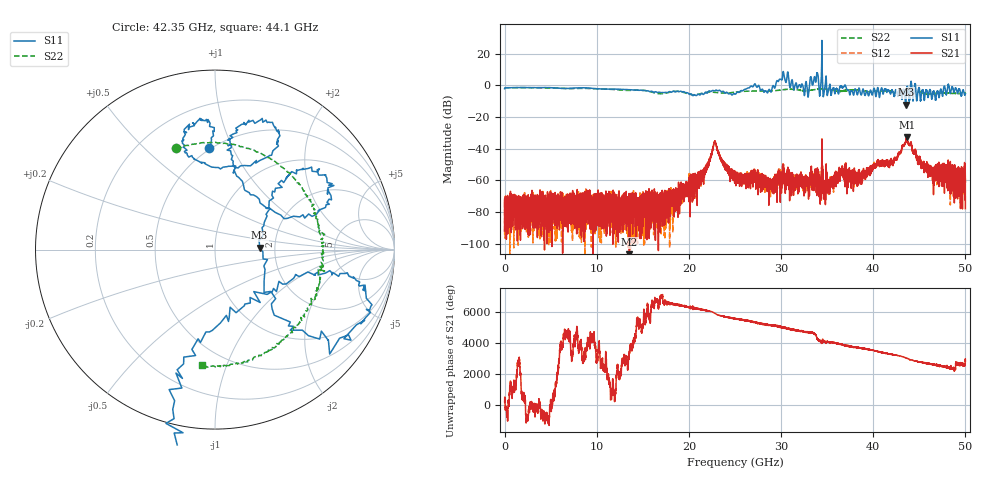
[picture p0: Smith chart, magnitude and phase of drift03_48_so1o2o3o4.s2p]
!Created with skrf (http://scikit-rf.org).
# Hz S RI R 50.0
!freq ReS11 ImS11 ReS21 ImS21 ReS12 ImS12 ReS22 ImS22
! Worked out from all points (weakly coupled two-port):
!   10000 points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, 5.3 MHz to 50 GHz, reference 50 ohm
!   highest |S21| = -32.69 dB at 43.64 GHz (marker M1); lowest = -108.8 dB at 13.55 GHz (marker M2)
!   lowest |S11| = -12.1 dB at 43.52 GHz (marker M3), VSWR 1.66, Z = 83.1 + j1.78 ohm
!   |S11| at or under -10 dB: 43.48455 GHz to 43.55218 GHz (67.63 MHz wide, 0.155 % of centre)
!   |S22| runs from -5.9 to -1.3 dB; largest |S21 - S12| = 0.0076
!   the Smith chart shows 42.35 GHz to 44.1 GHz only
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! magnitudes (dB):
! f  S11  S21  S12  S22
! 5.3 MHz  -2.1  -92.0  -73.6  -2.1
! 8.34 GHz  -1.5  -79.6  -99.2  -1.9
! 13.55 GHz  -2.7  -108.8  -73.6  -3.2
! 16.67 GHz  -4.4  -73.0  -69.9  -5.2
! 21.04 GHz  -5.6  -63.2  -64.9  -5.5
! 22.82 GHz  -3.4  -35.3  -35.4  -4.5
! 25.01 GHz  -5.5  -56.5  -58.7  -4.3
! 27.01 GHz  -0.4  -58.0  -58.6  -3.6
! 28.9 GHz  -4.2  -61.9  -65.3  -3.5
! 30.14 GHz  4.5  -60.7  -57.4  -2.8
! 32.74 GHz  2.0  -58.6  -59.0  -3.3
! 33.34 GHz  2.6  -55.2  -59.7  -2.9
! 33.82 GHz  4.3  -58.2  -60.1  -2.5
! 35.23 GHz  -1.1  -66.9  -62.8  -2.6
! 36.51 GHz  -0.2  -52.7  -54.3  -3.7
! 38.49 GHz  -1.8  -53.2  -54.3  -3.0
! 41.67 GHz  -3.0  -50.5  -50.2  -3.6
! 43.52 GHz  -12.1  -35.5  -35.4  -4.3
! 43.64 GHz  -1.8  -32.7  -33.7  -4.1
! 46.28 GHz  -5.7  -56.4  -54.7  -5.6
! 49.74 GHz  -3.1  -60.6  -59.9  -5.0
! 50 GHz  -5.3  -77.9  -58.7  -5.0
